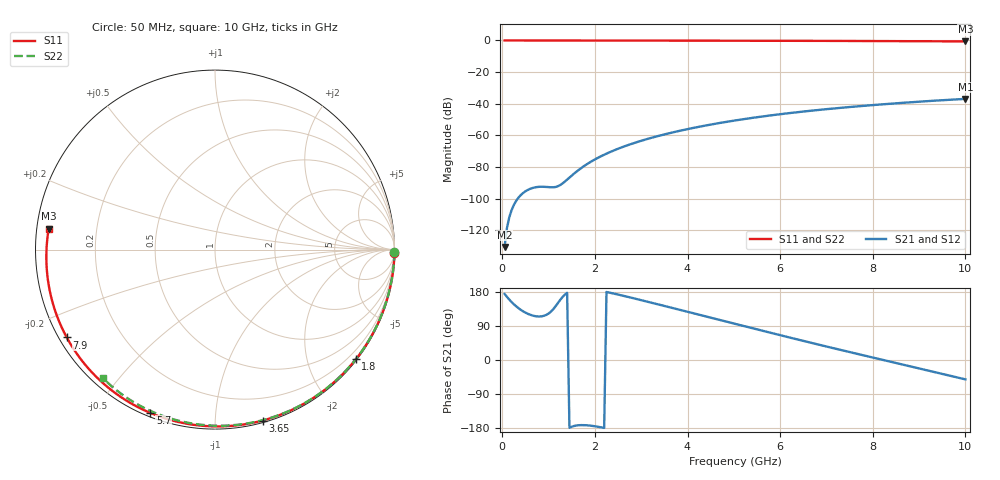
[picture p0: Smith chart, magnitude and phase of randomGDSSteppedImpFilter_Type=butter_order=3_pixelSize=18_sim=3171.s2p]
! freq	dB(S11)	phase(S11)	dB(S12)	phase(S12)
!  dB(S21)	phase(S21)	dB(S22)	phase(S22)
!S-par simulation data
#  GHz  S  DB  R 50
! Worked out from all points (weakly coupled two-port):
!   200 points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, 50 MHz to 10 GHz, reference 50 ohm
!   highest |S21| = -36.94 dB at 10 GHz (marker M1); lowest = -130.4 dB at 50 MHz (marker M2)
!   lowest |S11| = -0.6 dB at 10 GHz (marker M3), VSWR 29.19, Z = 1.72 + j3.14 ohm
!   |S11| at or under -10 dB: nowhere
!   |S22| runs from -0.4 to 0.0 dB; largest |S21 - S12| = 0
!   S11 on the Smith chart (normalised r, x): 50 MHz: open; 1.8 GHz: 0.03, -2.91; 3.65 GHz: 0.02, -1.32; 5.7 GHz: 0.02, -0.68; 7.9 GHz: 0.02, -0.27; 10 GHz: 0.03, +0.06
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0.05  -0.00 -1.1  -130.42 174.3  -130.42 174.3  -0.00 -0.8
0.45  -0.01 -9.6  -96.37 128.4  -96.37 128.4  -0.01 -6.8
0.85  -0.02 -18.1  -92.43 115.3  -92.43 115.3  -0.02 -12.8
1.25  -0.03 -26.5  -91.39 158.5  -91.39 158.5  -0.02 -18.8
1.7  -0.05 -35.8  -80.72 -171.8  -80.72 -171.8  -0.03 -25.4
1.75  -0.05 -36.9  -79.69 -171.8  -79.69 -171.8  -0.03 -26.1
1.8  -0.05 -37.9  -78.70 -172.1  -78.70 -172.1  -0.03 -26.9
2.1  -0.06 -44.0  -73.63 -176.9  -73.63 -176.9  -0.04 -31.2
2.45  -0.07 -51.1  -69.01 174.1  -69.01 174.1  -0.05 -36.3
2.9  -0.08 -60.0  -64.30 161.0  -64.30 161.0  -0.06 -42.7
3.4  -0.09 -69.7  -60.12 145.8  -60.12 145.8  -0.07 -49.8
3.65  -0.10 -74.4  -58.31 138.1  -58.31 138.1  -0.07 -53.2
4.35  -0.12 -87.5  -53.98 116.4  -53.98 116.4  -0.09 -62.8
5.05  -0.15 -100.1  -50.45 94.8  -50.45 94.8  -0.11 -72.0
5.7  -0.19 -111.6  -47.72 74.7  -47.72 74.7  -0.13 -80.4
6.2  -0.22 -120.3  -45.90 59.5  -45.90 59.5  -0.16 -86.7
6.7  -0.25 -128.8  -44.30 44.4  -44.30 44.4  -0.18 -92.8
7.3  -0.30 -139.1  -42.59 26.8  -42.59 26.8  -0.21 -100.1
7.9  -0.35 -149.4  -41.08 9.4  -41.08 9.4  -0.25 -107.1
8.35  -0.40 -157.2  -40.05 -3.5  -40.05 -3.5  -0.29 -112.4
9.2  -0.50 -172.2  -38.31 -27.8  -38.31 -27.8  -0.36 -122.1
10  -0.60 172.8  -36.94 -51.1  -36.94 -51.1  -0.44 -131.1
